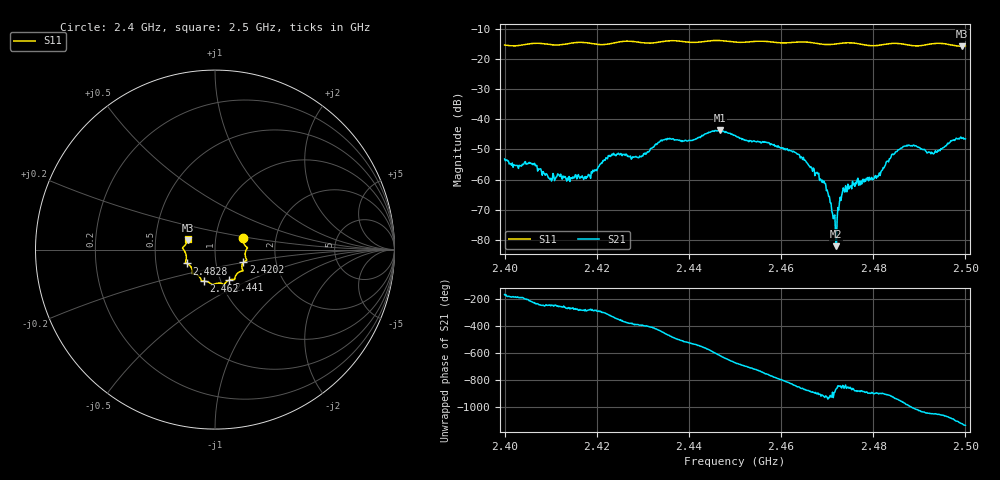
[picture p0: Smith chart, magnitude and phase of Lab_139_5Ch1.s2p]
# Hz S RI R 50
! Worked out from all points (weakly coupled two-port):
!   601 points, 2.4 GHz to 2.5 GHz, reference 50 ohm
!   highest |S21| = -43.70 dB at 2.4467 GHz (marker M1); lowest = -82.0 dB at 2.472 GHz (marker M2)
!   lowest |S11| = -15.8 dB at 2.4993 GHz (marker M3), VSWR 1.39, Z = 36.5 + j3.85 ohm
!   |S11| at or under -10 dB: start of sweep to end of sweep
!   S12 and S22 are empty: the file has one direction only
!   S11 on the Smith chart (normalised r, x): 2.4 GHz: 1.36, +0.18; 2.4202 GHz: 1.36, -0.20; 2.441 GHz: 1.10, -0.39; 2.462 GHz: 0.84, -0.30; 2.4828 GHz: 0.72, -0.11; 2.5 GHz: 0.73, +0.09
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2.4e9  0.1574 0.063  -0.00211 -0.000622  0 0  0 0
2.4065e9  0.1804 0.011  -0.00135 0.00129  0 0  0 0
2.409833e9  0.1724 -0.00412  -0.000497 0.000879  0 0  0 0
2.416667e9  0.1777 -0.0599  0.000182 0.00107  0 0  0 0
2.420167e9  0.1584 -0.0708  0.000476 0.00145  0 0  0 0
2.423e9  0.1497 -0.0974  0.00185 0.00155  0 0  0 0
2.433333e9  0.1124 -0.1509  0.00158 -0.00383  0 0  0 0
2.441e9  0.0785 -0.1696  -0.00455 -0.000643  0 0  0 0
2.446667e9  0.0493 -0.1947  -0.00149 0.00636  0 0  0 0
2.45e9  0.0285 -0.1871  0.00352 0.00409  0 0  0 0
2.462e9  -0.0605 -0.1755  -0.000842 -0.0029  0 0  0 0
2.466667e9  -0.0778 -0.1681  -0.00153 -0.000237  0 0  0 0
2.4695e9  -0.0909 -0.1471  -0.000748 0.000436  0 0  0 0
2.4715e9  -0.1092 -0.1369  -0.000247 -2.22e-05  0 0  0 0
2.472e9  -0.1134 -0.1359  -6.41e-05 -4.67e-05  0 0  0 0
2.473667e9  -0.1236 -0.1352  -0.000524 -0.000415  0 0  0 0
2.482833e9  -0.1577 -0.0773  -0.00196 0.000325  0 0  0 0
2.483333e9  -0.1607 -0.0759  -0.00192 0.000425  0 0  0 0
2.487e9  -0.1621 -0.0604  -0.000768 0.00351  0 0  0 0
2.492833e9  -0.1777 0.0033  0.0024 0.00134  0 0  0 0
2.499333e9  -0.1532 0.0513  0.00333 -0.0035  0 0  0 0
2.5e9  -0.1515 0.0611  0.00244 -0.00403  0 0  0 0
